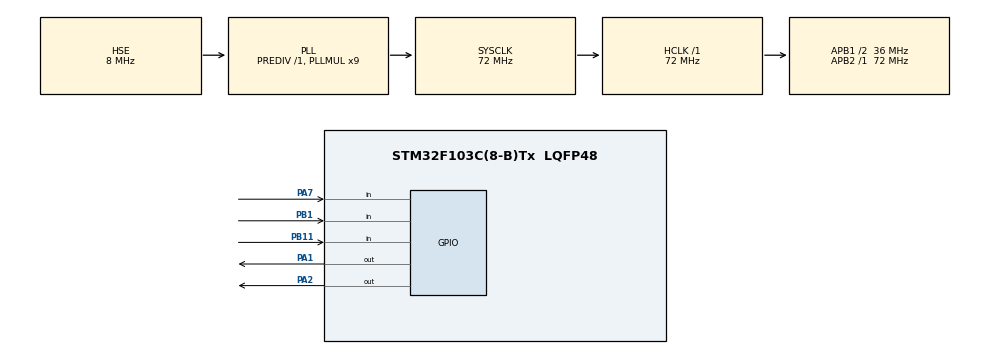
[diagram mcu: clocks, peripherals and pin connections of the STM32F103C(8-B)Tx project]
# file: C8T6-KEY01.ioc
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Mcu.Family=STM32F1
Mcu.Name=STM32F103C(8-B)Tx
Mcu.Package=LQFP48
NVIC.PriorityGroup=NVIC_PRIORITYGROUP_4
PA1.PinState=GPIO_PIN_RESET
PA1.Signal=GPIO_Output
PA13.Mode=Serial_Wire
PA13.Signal=SYS_JTMS-SWDIO
PA14.Mode=Serial_Wire
PA14.Signal=SYS_JTCK-SWCLK
PA2.PinState=GPIO_PIN_RESET
PA2.Signal=GPIO_Output
PA7.GPIO_Mode=GPIO_MODE_INPUT
PA7.GPIO_PuPd=GPIO_PULLUP
PA7.Signal=GPIO_Input
PB1.GPIO_Mode=GPIO_MODE_INPUT
PB1.GPIO_PuPd=GPIO_PULLUP
PB1.Signal=GPIO_Input
PB11.GPIO_Mode=GPIO_MODE_INPUT
PB11.GPIO_PuPd=GPIO_PULLUP
PB11.Signal=GPIO_Input
PC14-OSC32_IN.Mode=LSE-External-Oscillator
PC14-OSC32_IN.Signal=RCC_OSC32_IN
PC15-OSC32_OUT.Mode=LSE-External-Oscillator
PC15-OSC32_OUT.Signal=RCC_OSC32_OUT
PD0-OSC_IN.Mode=HSE-External-Oscillator
PD0-OSC_IN.Signal=RCC_OSC_IN
PD1-OSC_OUT.Mode=HSE-External-Oscillator
PD1-OSC_OUT.Signal=RCC_OSC_OUT
ProjectManager.HeapSize=0x200
ProjectManager.StackSize=0x400
ProjectManager.TargetToolchain=MDK-ARM V5
RCC.AHBFreq_Value=72000000
RCC.APB1CLKDivider=RCC_HCLK_DIV2
RCC.APB1Freq_Value=36000000
RCC.APB1TimFreq_Value=72000000
RCC.APB2Freq_Value=72000000
RCC.APB2TimFreq_Value=72000000
RCC.HCLKFreq_Value=72000000
RCC.PLLMUL=RCC_PLL_MUL9
RCC.PLLSourceVirtual=RCC_PLLSOURCE_HSE
RCC.SYSCLKFreq_VALUE=72000000
RCC.SYSCLKSource=RCC_SYSCLKSOURCE_PLLCLK
RCC.USBFreq_Value=72000000
board=custom

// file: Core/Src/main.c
/* USER CODE BEGIN Header */
/**
  ******************************************************************************
  * @file           : main.c
  * @brief          : Main program body
  ******************************************************************************
  * @attention
  *
  * Copyright (c) 2026 STMicroelectronics.
  * All rights reserved.
  *
  * This software is licensed under terms that can be found in the LICENSE file
  * in the root directory of this software component.
  * If no LICENSE file comes with this software, it is provided AS-IS.
  *
  ******************************************************************************
  */
/* USER CODE END Header */
#include "main.h"
#include "gpio.h"

void SystemClock_Config(void);

/* USER CODE BEGIN 0 */

#define KEY3 HAL_GPIO_ReadPin(GPIOA, GPIO_PIN_7 )
#define KEY2 HAL_GPIO_ReadPin(GPIOB, GPIO_PIN_1 )
#define KEY1 HAL_GPIO_ReadPin(GPIOB, GPIO_PIN_11)
void Key3_Scan(void)
{
    if(KEY3 == 0)
    {
        HAL_Delay(20);
        if(KEY3 == 0)
        {
            HAL_GPIO_TogglePin(GPIOA, GPIO_PIN_2);
            while(KEY3 == 0);
        }

    }
}

void Key2_Scan(void)
{
    if(KEY2 == 0)
    {
        HAL_Delay(20);
        if(KEY2 == 0)
        {
            HAL_GPIO_TogglePin(GPIOA, GPIO_PIN_1);
            while(KEY2 == 0);
        }
    }
}

void Key1_Scan(void)
{
    if(KEY1 == 0)
    {
        HAL_Delay(20);
        if(KEY1 == 0)
        {
            HAL_GPIO_TogglePin(GPIOA, GPIO_PIN_1 | GPIO_PIN_2);
            while(KEY1 == 0);
        }
    }
}

/* USER CODE END 0 */

int main(void)
{

  /* MCU Configuration--------------------------------------------------------*/

  /* Reset of all peripherals, Initializes the Flash interface and the Systick. */
  HAL_Init();

  /* Configure the system clock */
  SystemClock_Config();

  /* Initialize all configured peripherals */
  MX_GPIO_Init();

  /* Infinite loop */
  while (1)
  {
    Key3_Scan();
    Key2_Scan();
    Key1_Scan();

  }
}

void SystemClock_Config(void)
{
  RCC_OscInitTypeDef RCC_OscInitStruct = {0};
  RCC_ClkInitTypeDef RCC_ClkInitStruct = {0};

  /** Initializes the RCC Oscillators according to the specified parameters
  * in the RCC_OscInitTypeDef structure.
  */
  RCC_OscInitStruct.OscillatorType = RCC_OSCILLATORTYPE_HSE;
  RCC_OscInitStruct.HSEState = RCC_HSE_ON;
  RCC_OscInitStruct.HSEPredivValue = RCC_HSE_PREDIV_DIV1;
  RCC_OscInitStruct.HSIState = RCC_HSI_ON;
  RCC_OscInitStruct.PLL.PLLState = RCC_PLL_ON;
  RCC_OscInitStruct.PLL.PLLSource = RCC_PLLSOURCE_HSE;
  RCC_OscInitStruct.PLL.PLLMUL = RCC_PLL_MUL9;
  if (HAL_RCC_OscConfig(&RCC_OscInitStruct) != HAL_OK)
  {
    Error_Handler();
  }

  /** Initializes the CPU, AHB and APB buses clocks
  */
  RCC_ClkInitStruct.ClockType = RCC_CLOCKTYPE_HCLK|RCC_CLOCKTYPE_SYSCLK
                              |RCC_CLOCKTYPE_PCLK1|RCC_CLOCKTYPE_PCLK2;
  RCC_ClkInitStruct.SYSCLKSource = RCC_SYSCLKSOURCE_PLLCLK;
  RCC_ClkInitStruct.AHBCLKDivider = RCC_SYSCLK_DIV1;
  RCC_ClkInitStruct.APB1CLKDivider = RCC_HCLK_DIV2;
  RCC_ClkInitStruct.APB2CLKDivider = RCC_HCLK_DIV1;

  if (HAL_RCC_ClockConfig(&RCC_ClkInitStruct, FLASH_LATENCY_2) != HAL_OK)
  {
    Error_Handler();
  }
}

void Error_Handler(void)
{
  __disable_irq();
  while (1)
  {
  }
}
